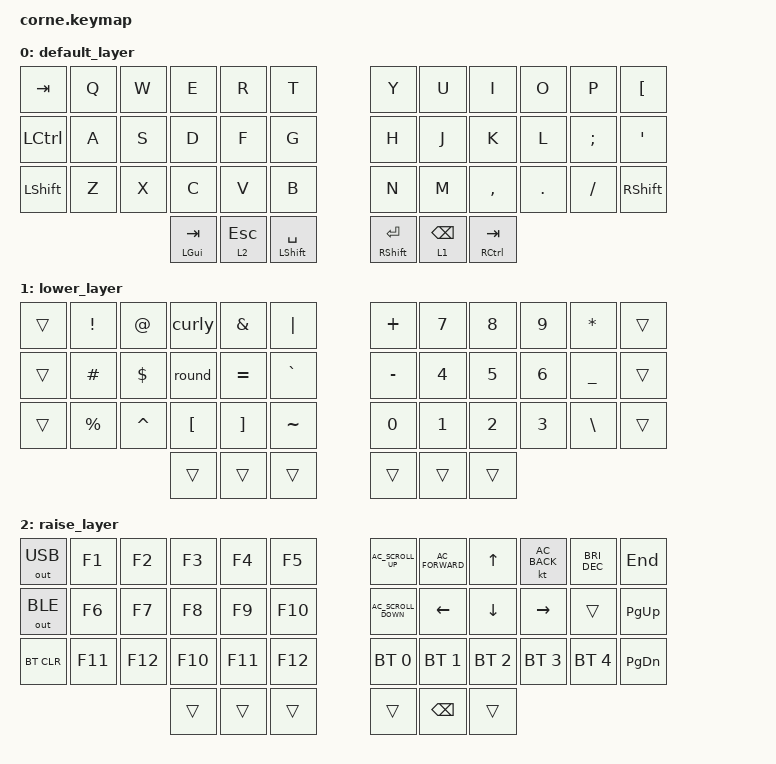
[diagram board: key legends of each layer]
/*
 * Copyright (c) 2020 The ZMK Contributors
 *
 * SPDX-License-Identifier: MIT
 */

#include <behaviors.dtsi>
#include <dt-bindings/zmk/bt.h>
#include <dt-bindings/zmk/keys.h>
#include <dt-bindings/zmk/outputs.h>

&lt { flavor = "hold-preferred"; };

&mt { flavor = "tap-preferred"; };

/ {
    behaviors {
        curly: curly {
            compatible = "zmk,behavior-mod-morph";
            label = "CURLY";
            bindings = <&kp LEFT_BRACE>, <&kp RIGHT_BRACE>;

            #binding-cells = <0>;
            mods = <(MOD_LSFT|MOD_RSFT)>;
        };

        round: round {
            compatible = "zmk,behavior-mod-morph";
            label = "ROUND";
            bindings = <&kp LEFT_PARENTHESIS>, <&kp RIGHT_PARENTHESIS>;

            #binding-cells = <0>;
            mods = <(MOD_LSFT|MOD_RSFT)>;
        };

        square: square {
            compatible = "zmk,behavior-mod-morph";
            label = "SQUARE";
            bindings = <&kp LEFT_BRACKET>, <&kp RIGHT_BRACKET>;

            #binding-cells = <0>;
            mods = <(MOD_RSFT|MOD_LSFT)>;
        };

        hp: hp {
            compatible = "zmk,behavior-hold-tap";
            label = "HP";
            bindings = <&kp>, <&kp>;

            #binding-cells = <2>;
            tapping-term-ms = <200>;
        };
    };

    keymap {
        compatible = "zmk,keymap";

        default_layer {
            bindings = <
&kp TAB    &kp Q  &kp W  &kp E         &kp R         &kp T                   &kp Y                   &kp U            &kp I          &kp O    &kp P     &kp LBKT
&kp LCTRL  &kp A  &kp S  &kp D         &kp F         &kp G                   &kp H                   &kp J            &kp K          &kp L    &kp SEMI  &kp SQT
&kp LSHFT  &kp Z  &kp X  &kp C         &kp V         &kp B                   &kp N                   &kp M            &kp COMMA      &kp DOT  &kp FSLH  &kp RSHIFT
                         &hp LGUI TAB  &lt 2 ESCAPE  &mt LEFT_SHIFT SPACE    &mt RIGHT_SHIFT RETURN  &lt 1 BACKSPACE  &hp RCTRL TAB
            >;
        };

        lower_layer {
            bindings = <
&trans  &kp EXCLAMATION  &kp AT_SIGN  &curly            &kp AMPS           &kp PIPE     &kp PLUS   &kp N7        &kp N8        &kp N9        &kp ASTERISK    &trans
&trans  &kp HASH         &kp DOLLAR   &round            &kp EQUAL          &kp GRAVE    &kp MINUS  &kp NUMBER_4  &kp N5        &kp NUMBER_6  &kp UNDERSCORE  &trans
&trans  &kp PERCENT      &kp CARET    &kp LEFT_BRACKET  &kp RIGHT_BRACKET  &kp TILDE    &kp N0     &kp NUMBER_1  &kp NUMBER_2  &kp NUMBER_3  &kp BACKSLASH   &trans
                                      &trans            &trans             &trans       &trans     &trans        &trans
            >;
        };

        raise_layer {
            bindings = <
&out OUT_USB  &kp F1   &kp F2   &kp F3   &kp F4   &kp F5     &kp C_AC_SCROLL_UP    &kp C_AC_FORWARD  &kp UP_ARROW  &kt C_AC_BACK  &kp C_BRIGHTNESS_DEC  &kp END
&out OUT_BLE  &kp F6   &kp F7   &kp F8   &kp F9   &kp F10    &kp C_AC_SCROLL_DOWN  &kp LEFT          &kp DOWN      &kp RIGHT      &trans                &kp PG_UP
&bt BT_CLR    &kp F11  &kp F12  &kp F10  &kp F11  &kp F12    &bt BT_SEL 0          &bt BT_SEL 1      &bt BT_SEL 2  &bt BT_SEL 3   &bt BT_SEL 4          &kp PG_DN
                                &trans   &trans   &trans     &trans                &kp BACKSPACE     &trans
            >;
        };
    };
};
